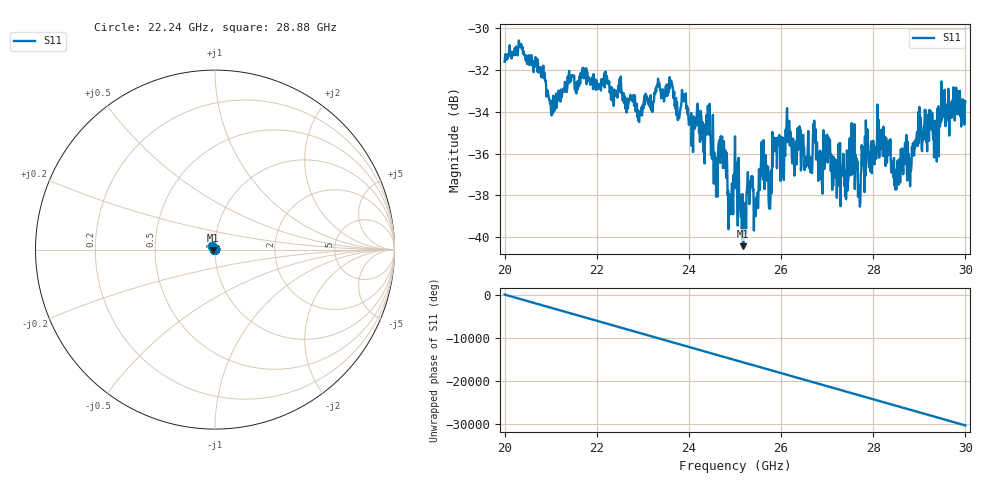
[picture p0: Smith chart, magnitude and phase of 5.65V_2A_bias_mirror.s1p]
#  HZ  S  RI  R  50.00
! Rohde & Schwarz ZVA40 4Ports - Version 3.90 - 1145.1110k42 SN: 100403
! Date: 2023-09-26 10:32:00
! Measurement: S12
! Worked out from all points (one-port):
!   1001 points, 20 GHz to 30 GHz, reference 50 ohm
!   lowest |S11| = -40.4 dB at 25.18 GHz (marker M1), VSWR 1.02, Z = 49.1 - j0.219 ohm
!   |S11| at or under -10 dB: start of sweep to end of sweep
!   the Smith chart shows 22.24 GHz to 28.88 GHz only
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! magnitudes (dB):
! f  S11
! 20 GHz  -31.6
! 20.35 GHz  -30.9
! 21.04 GHz  -33.7
! 21.25 GHz  -33.1
! 22.5 GHz  -33.0
! 22.93 GHz  -34.1
! 23.6 GHz  -32.5
! 23.75 GHz  -33.9
! 24.42 GHz  -34.2
! 24.58 GHz  -36.6
! 24.74 GHz  -36.7
! 24.91 GHz  -38.9
! 25 GHz  -35.2
! 25.18 GHz  -40.4
! 25.33 GHz  -37.6
! 25.46 GHz  -38.1
! 25.61 GHz  -37.2
! 25.75 GHz  -38.4
! 25.86 GHz  -35.6
! 26.25 GHz  -35.3
! 27.5 GHz  -37.0
! 27.69 GHz  -37.8
! 27.83 GHz  -37.1
! 28.14 GHz  -35.5
! 28.51 GHz  -36.9
! 28.75 GHz  -35.4
! 28.99 GHz  -35.5
! 30 GHz  -33.5
